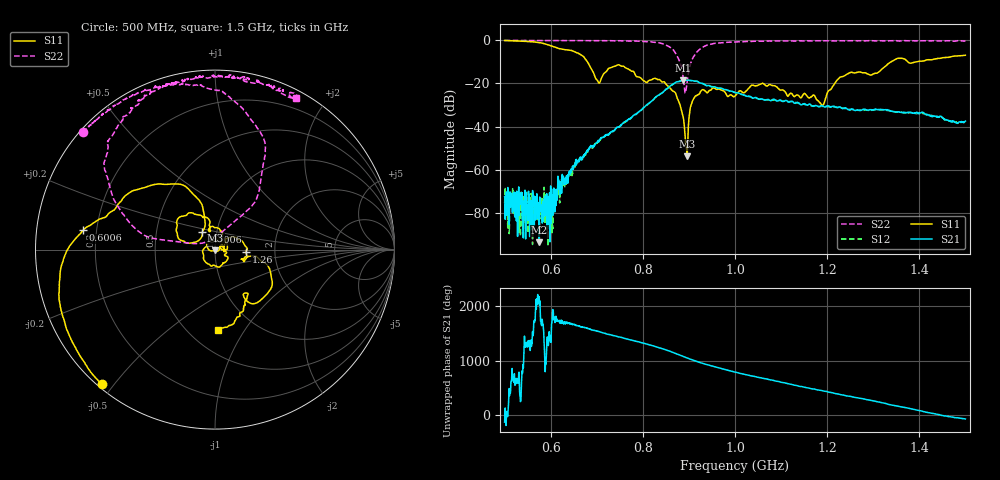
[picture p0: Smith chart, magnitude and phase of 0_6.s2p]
!Agilent Technologies,E8364B,US42250235,A.06.04.32
!Agilent E8364B: A.06.04.32
!Date: Friday, January 15, 2021 15:03:29
!Correction: S11(Full 2 Port(1,2)) S21(Full 2 Port(1,2)) S12(Full 2 Port(1,2)) S22(Full 2 Port(1,2))
!S2P File: Measurements: S11, S21, S12, S22:
# Hz S  dB  R 50
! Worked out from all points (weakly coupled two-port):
!   1601 points, 500 MHz to 1.5 GHz, reference 50 ohm
!   highest |S21| = -18.53 dB at 886.9 MHz (marker M1); lowest = -93.6 dB at 575 MHz (marker M2)
!   lowest |S11| = -53.8 dB at 896.2 MHz (marker M3), VSWR 1.00, Z = 50.1 - j0.16 ohm
!   |S11| at or under -10 dB: 679.6 MHz to 1.339 GHz (659.5 MHz wide, 65.3 % of centre); 1.375 GHz to 1.395 GHz (19.96 MHz wide, 1.44 % of centre)
!   |S22| runs from -24.5 to -0.1 dB; largest |S21 - S12| = 0.0027
!   S11 on the Smith chart (normalised r, x): 500 MHz: 0.01, -0.47; 600.6 MHz: 0.15, +0.07; 700.6 MHz: 0.85, +0.17; 1.26 GHz: 1.42, -0.04; 1.5 GHz: 0.68, -0.76
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5e8  -0.16 -130.0  -72.47 -122.8  -75.61 -172.1  -0.16 138.3
5.75e8  -1.15 -170.5  -93.58 19.9  -88.95 92.7  -0.17 130.9
6.00625e8  -2.59 171.6  -85.14 -99.1  -72.47 -0.0  -0.20 129.1
6.66875e8  -6.97 125.6  -55.52 -174.8  -55.17 -172.8  -0.20 121.4
7.00625e8  -18.40 125.4  -47.48 109.8  -47.76 107.3  -0.19 118.0
7.46875e8  -11.41 139.9  -40.27 2.4  -40.42 2.0  -0.27 109.9
8.05e8  -19.21 103.6  -30.66 -121.6  -30.77 -122.7  -0.65 98.9
8.3375e8  -18.28 90.0  -25.54 165.3  -25.56 164.9  -1.17 86.5
8.68125e8  -23.86 34.8  -20.05 67.1  -20.03 67.1  -5.07 60.9
8.86875e8  -35.12 -30.2  -18.53 3.9  -18.59 3.6  -16.24 59.1
8.925e8  -47.60 -34.2  -18.56 -14.7  -18.62 -14.6  -24.54 123.4
8.9625e8  -53.75 -50.8  -18.61 -26.2  -18.59 -26.3  -19.08 162.6
9.0625e8  -29.15 179.3  -18.75 -57.2  -18.81 -57.6  -9.30 169.7
9.26875e8  -23.39 103.1  -19.93 -116.8  -19.95 -117.8  -3.70 151.7
1e9  -25.91 -4.6  -24.33 75.0  -24.25 75.1  -0.84 120.7
1.05875e9  -20.07 -73.9  -27.29 -36.0  -27.42 -35.2  -0.44 112.2
1.166875e9  -25.99 20.4  -30.47 126.9  -30.51 130.3  -0.37 97.5
1.19e9  -30.27 27.8  -30.40 91.1  -30.69 91.5  -0.32 94.9
1.224375e9  -17.94 33.7  -30.98 31.8  -31.22 31.3  -0.31 90.5
1.26e9  -15.19 -4.3  -32.53 -29.6  -32.30 -27.6  -0.31 88.8
1.33375e9  -10.68 -15.2  -32.49 -159.1  -32.67 -153.5  -0.31 79.5
1.5e9  -6.98 -88.1  -37.51 -66.4  -38.05 -63.4  -0.37 61.8
